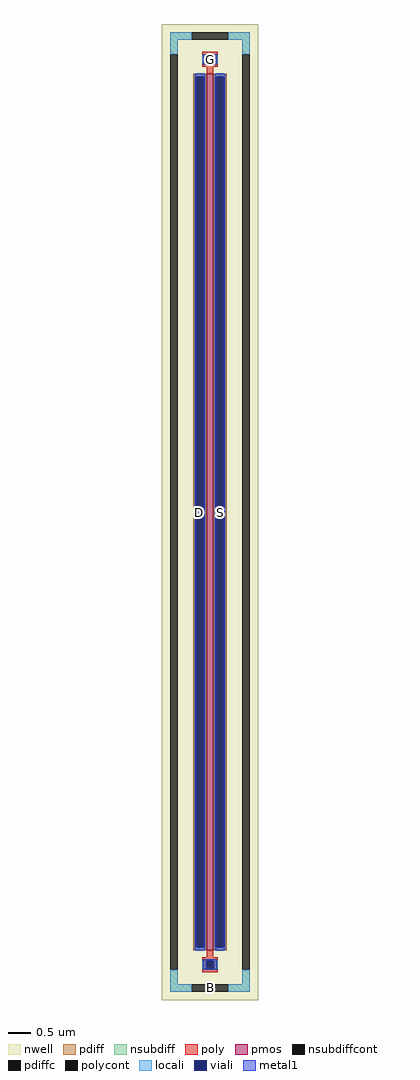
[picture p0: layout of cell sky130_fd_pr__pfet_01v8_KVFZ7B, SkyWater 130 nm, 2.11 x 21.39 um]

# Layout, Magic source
magic
tech sky130A
magscale 1 2
<< nwell >>
rect -211 -2139 211 2139
<< pmos >>
rect -15 -1920 15 1920
<< pdiff >>
rect -73 1908 -15 1920
rect -73 -1908 -61 1908
rect -27 -1908 -15 1908
rect -73 -1920 -15 -1908
rect 15 1908 73 1920
rect 15 -1908 27 1908
rect 61 -1908 73 1908
rect 15 -1920 73 -1908
<< pdiffc >>
rect -61 -1908 -27 1908
rect 27 -1908 61 1908
<< nsubdiff >>
rect -175 2069 -79 2103
rect 79 2069 175 2103
rect -175 2007 -141 2069
rect 141 2007 175 2069
rect -175 -2069 -141 -2007
rect 141 -2069 175 -2007
rect -175 -2103 -79 -2069
rect 79 -2103 175 -2069
<< nsubdiffcont >>
rect -79 2069 79 2103
rect -175 -2007 -141 2007
rect 141 -2007 175 2007
rect -79 -2103 79 -2069
<< poly >>
rect -33 2001 33 2017
rect -33 1967 -17 2001
rect 17 1967 33 2001
rect -33 1951 33 1967
rect -15 1920 15 1951
rect -15 -1951 15 -1920
rect -33 -1967 33 -1951
rect -33 -2001 -17 -1967
rect 17 -2001 33 -1967
rect -33 -2017 33 -2001
<< polycont >>
rect -17 1967 17 2001
rect -17 -2001 17 -1967
<< locali >>
rect -175 2069 -79 2103
rect 79 2069 175 2103
rect -175 2007 -141 2069
rect 141 2007 175 2069
rect -33 1967 -17 2001
rect 17 1967 33 2001
rect -61 1908 -27 1924
rect -61 -1924 -27 -1908
rect 27 1908 61 1924
rect 27 -1924 61 -1908
rect -33 -2001 -17 -1967
rect 17 -2001 33 -1967
rect -175 -2069 -141 -2007
rect 141 -2069 175 -2007
rect -175 -2103 -79 -2069
rect 79 -2103 175 -2069
<< viali >>
rect -17 1967 17 2001
rect -61 -1908 -27 1908
rect 27 -1908 61 1908
rect -17 -2001 17 -1967
<< metal1 >>
rect -29 2001 29 2007
rect -29 1967 -17 2001
rect 17 1967 29 2001
rect -29 1961 29 1967
rect -67 1908 -21 1920
rect -67 -1908 -61 1908
rect -27 -1908 -21 1908
rect -67 -1920 -21 -1908
rect 21 1908 67 1920
rect 21 -1908 27 1908
rect 61 -1908 67 1908
rect 21 -1920 67 -1908
rect -29 -1967 29 -1961
rect -29 -2001 -17 -1967
rect 17 -2001 29 -1967
rect -29 -2007 29 -2001
<< labels >>
rlabel nsubdiffcont 0 -2086 0 -2086 0 B
port 13 nsew
rlabel pdiffc -44 0 -44 0 0 D
port 14 nsew
rlabel pdiffc 44 0 44 0 0 S
port 15 nsew
rlabel polycont 0 1984 0 1984 0 G
port 16 nsew
<< properties >>
string FIXED_BBOX -158 -2086 158 2086
string gencell sky130_fd_pr__pfet_01v8
string library sky130
string parameters w 19.2 l 0.15 m 1 nf 1 diffcov 100 polycov 100 guard 1 glc 1 grc 1 gtc 1 gbc 1 tbcov 100 rlcov 100 topc 1 botc 1 poverlap 0 doverlap 1 lmin 0.15 wmin 0.42 class mosfet compatible {sky130_fd_pr__pfet_01v8  sky130_fd_pr__pfet_01v8_lvt sky130_fd_pr__pfet_01v8_hvt  sky130_fd_pr__pfet_g5v0d10v5} full_metal 1 viasrc 100 viadrn 100 viagate 100 viagb 0 viagr 0 viagl 0 viagt 0 doports 1
<< end >>
